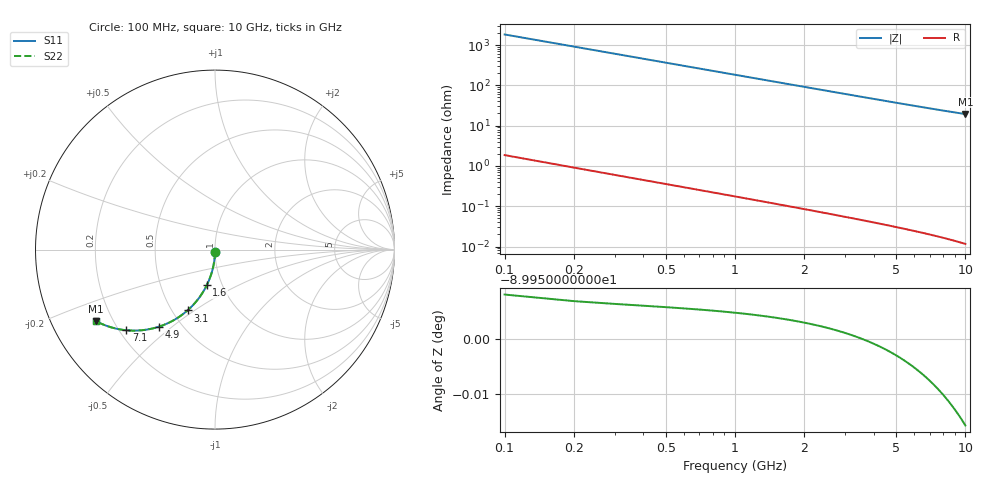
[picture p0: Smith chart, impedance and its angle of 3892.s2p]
# Hz S RI R 50.00
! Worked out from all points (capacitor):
!   100 points, 100 MHz to 10 GHz, reference 50 ohm
!   read as one part in shunt: C = 871 fF near 100 MHz
!   lowest |Z| = 19.4 ohm at 10 GHz (marker M1)
!   S11 on the Smith chart (normalised r, x): 100 MHz: 1.00, -0.03; 1.6 GHz: 0.85, -0.35; 3.1 GHz: 0.60, -0.47; 4.9 GHz: 0.38, -0.45; 7.1 GHz: 0.23, -0.37; 10 GHz: 0.14, -0.27
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1e8  8.41e-05 -0.013  0.9995 -0.0144  0.9995 -0.0144  8.41e-05 -0.013
2e8  -0.000487 -0.026  0.9989 -0.0287  0.9989 -0.0287  -0.000487 -0.026
3e8  -0.00143 -0.0389  0.998 -0.043  0.998 -0.043  -0.00143 -0.0389
4e8  -0.00274 -0.0518  0.9967 -0.0573  0.9967 -0.0573  -0.00274 -0.0518
5e8  -0.00442 -0.0646  0.995 -0.0715  0.995 -0.0715  -0.00442 -0.0646
6e8  -0.00646 -0.0774  0.9929 -0.0857  0.9929 -0.0857  -0.00646 -0.0774
7e8  -0.00887 -0.09  0.9905 -0.0997  0.9905 -0.0997  -0.00887 -0.09
9e8  -0.0147 -0.1151  0.9846 -0.1275  0.9846 -0.1275  -0.0147 -0.1151
1.2e9  -0.0261 -0.1516  0.9732 -0.1682  0.9732 -0.1682  -0.0261 -0.1516
1.6e9  -0.0456 -0.1979  0.9536 -0.2201  0.9536 -0.2201  -0.0456 -0.1979
1.8e9  -0.0571 -0.2199  0.942 -0.2448  0.942 -0.2448  -0.0571 -0.2199
2.4e9  -0.0975 -0.2802  0.9014 -0.3135  0.9014 -0.3135  -0.0975 -0.2802
3.1e9  -0.1531 -0.3388  0.8454 -0.3818  0.8454 -0.3818  -0.1531 -0.3388
3.4e9  -0.1788 -0.3598  0.8195 -0.407  0.8195 -0.407  -0.1788 -0.3598
4.1e9  -0.2412 -0.3994  0.7566 -0.4565  0.7566 -0.4565  -0.2412 -0.3994
4.9e9  -0.3133 -0.4297  0.6837 -0.4981  0.6837 -0.4981  -0.3133 -0.4297
5.1e9  -0.331 -0.435  0.6658 -0.5062  0.6658 -0.5062  -0.331 -0.435
5.9e9  -0.3997 -0.4484  0.5962 -0.5311  0.5962 -0.5311  -0.3997 -0.4484
6.7e9  -0.4635 -0.4512  0.5314 -0.5454  0.5314 -0.5454  -0.4635 -0.4512
7.1e9  -0.4932 -0.4494  0.5011 -0.5495  0.5011 -0.5495  -0.4932 -0.4494
8.4e9  -0.5793 -0.4328  0.4129 -0.5521  0.4129 -0.5521  -0.5793 -0.4328
1e10  -0.6642 -0.3979  0.3247 -0.5415  0.3247 -0.5415  -0.6642 -0.3979
